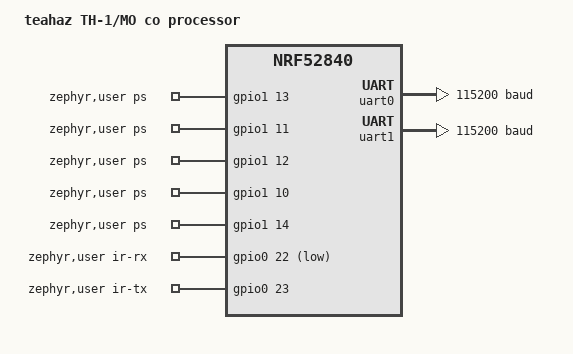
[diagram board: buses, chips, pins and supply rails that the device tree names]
/*
 * SPDX-License-Identifier: Apache-2.0
 */

/dts-v1/;
#include <nordic/nrf52840_qiaa.dtsi>
#include <nordic/nrf52840_partition.dtsi>
#include "mo-pinctrl.dtsi"
#include <zephyr/dt-bindings/gpio/gpio.h>

/ {
	model = "teahaz TH-1/MO co processor";
	compatible = "th-1,mo";

	chosen {
		zephyr,console = &uart0;
		zephyr,shell-uart = &uart0;
	};

	zephyr,user {
		ps-gpios = <&gpio1 13 (GPIO_ACTIVE_HIGH | GPIO_PULL_DOWN)>,
			   <&gpio1 11 (GPIO_ACTIVE_HIGH | GPIO_PULL_DOWN)>,
			   <&gpio1 12 (GPIO_ACTIVE_HIGH | GPIO_PULL_DOWN)>,
			   <&gpio1 10 (GPIO_ACTIVE_HIGH | GPIO_PULL_DOWN)>,
			   <&gpio1 14 (GPIO_ACTIVE_HIGH | GPIO_PULL_DOWN)>; /* MOD4 - Pi power sense */

		ir-rx-gpios = <&gpio0 22 (GPIO_ACTIVE_LOW | GPIO_PULL_UP)>;
		ir-tx-gpios = <&gpio0 23 GPIO_ACTIVE_HIGH>;
	};
};

&gpiote {
	status = "okay";
};

&gpio0 {
	status = "okay";
	gpio-reserved-ranges = <0 2>, <18 1>, <24 1>;
	gpio-line-names = "XL1", "XL2", "", "", "GP0.4", "GP0.5", "GP0.6", "GP0.7",
			   "GP0.8", "", "", "", "", "GP0.13", "GP0.14", "GP0.15",
			   "GP0.16", "GP0.17", "nRESET", "GP0.19", "GP0.20", "GP0.21",
			   "IR_RX", "IR_TX", "U0_RX", "U1_RX", "GP0.26";
};

&gpio1 {
	status = "okay";
	gpio-reserved-ranges = <0 1>, <10 5>;
};

&uart0 {
	status = "okay";
	current-speed = <115200>;
	pinctrl-0 = <&uart0_default>;
	pinctrl-1 = <&uart0_sleep>;
	pinctrl-names = "default", "sleep";
};

&uart1 {
	status = "okay";
	current-speed = <115200>;
	pinctrl-0 = <&uart1_default>;
	pinctrl-1 = <&uart1_sleep>;
	pinctrl-names = "default", "sleep";
};

&uicr {
	gpio-as-nreset;
};
